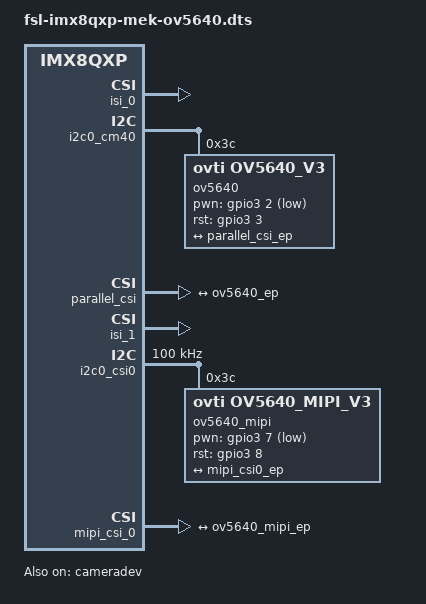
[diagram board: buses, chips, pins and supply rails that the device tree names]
#include "fsl-imx8qxp-mek.dts"
#include "fsl-imx8qxp-mek-lvds0-it6263.dtsi"

&iomuxc {
	imx8qxp-mek {
		pinctrl_mipi_csi0: mipicsi0grp{
			fsl,pins = <
				SC_P_MIPI_CSI0_MCLK_OUT_MIPI_CSI0_ACM_MCLK_OUT	0xC0000041
				SC_P_MIPI_CSI0_GPIO0_01_LSIO_GPIO3_IO07		0xC0000041
				SC_P_MIPI_CSI0_GPIO0_00_LSIO_GPIO3_IO08		0xC0000041
			>;
		};

		pinctrl_parallel_csi: parallelcsigrp {
			fsl,pins = <
				SC_P_CSI_D00_CI_PI_D02		0xC0000041
				SC_P_CSI_D01_CI_PI_D03		0xC0000041
				SC_P_CSI_D02_CI_PI_D04		0xC0000041
				SC_P_CSI_D03_CI_PI_D05		0xC0000041
				SC_P_CSI_D04_CI_PI_D06		0xC0000041
				SC_P_CSI_D05_CI_PI_D07		0xC0000041
				SC_P_CSI_D06_CI_PI_D08		0xC0000041
				SC_P_CSI_D07_CI_PI_D09		0xC0000041

				SC_P_CSI_MCLK_CI_PI_MCLK		0xC0000041
				SC_P_CSI_PCLK_CI_PI_PCLK		0xC0000041
				SC_P_CSI_HSYNC_CI_PI_HSYNC		0xC0000041
				SC_P_CSI_VSYNC_CI_PI_VSYNC		0xC0000041
				SC_P_CSI_EN_LSIO_GPIO3_IO02		0xC0000041
				SC_P_CSI_RESET_LSIO_GPIO3_IO03	0xC0000041
			>;
		};
	};
};

&isi_0 {
	interface = <6 0 2>;	/* INPUT: 6-PARALLEL CSI */
	parallel_csi;
	status = "okay";
};

&i2c0_cm40 {
	ov5640: ov5640@3c {
		compatible = "ovti,ov5640_v3";
		reg = <0x3c>;
		pinctrl-names = "default";
		pinctrl-0 = <&pinctrl_parallel_csi>;
		clocks = <&clk IMX8QXP_PARALLEL_CSI_MISC0_CLK>;
		clock-names = "csi_mclk";
		pwn-gpios = <&gpio3 2 GPIO_ACTIVE_LOW>;
		rst-gpios = <&gpio3 3 GPIO_ACTIVE_HIGH>;
		csi_id = <0>;
		mclk = <24000000>;
		mclk_source = <0>;
		status = "okay";
		port {
			ov5640_ep: endpoint {
				remote-endpoint = <&parallel_csi_ep>;
			};
		};
	};
};

&cameradev {
	parallel_csi;
	status = "okay";
};

&parallel_csi {
	#address-cells = <1>;
	#size-cells = <0>;
	status = "okay";
	port@0 {
		reg = <0>;
		parallel_csi_ep: endpoint {
			remote-endpoint = <&ov5640_ep>;
		};
	};
};

&isi_1 {
	interface = <2 0 2>;
	status = "okay";
};

&isi_2 {
	status = "disabled";
};

&isi_3 {
	status = "disabled";
};

&isi_4 {
	status = "disabled";
};

&isi_5 {
	status = "disabled";
};

&isi_6 {
	status = "disabled";
};

&isi_7 {
	status = "disabled";
};

&i2c0_csi0 {
	clock-frequency = <100000>;
	status = "okay";

	ov5640_mipi: ov5640_mipi@3c {
		compatible = "ovti,ov5640_mipi_v3";
		reg = <0x3c>;
		pinctrl-names = "default";
		pinctrl-0 = <&pinctrl_mipi_csi0>;
		clocks = <&clk IMX8QXP_CLK_DUMMY>;
		clock-names = "csi_mclk";
		csi_id = <0>;
		pwn-gpios = <&gpio3 7 GPIO_ACTIVE_LOW>;
		rst-gpios = <&gpio3 8 GPIO_ACTIVE_HIGH>;
		mclk = <24000000>;
		mclk_source = <0>;
		mipi_csi;
		status = "okay";
		port {
			ov5640_mipi_ep: endpoint {
				remote-endpoint = <&mipi_csi0_ep>;
			};
		};
	};

	max9286_mipi@6A {
		status = "disabled";
	};
};

&mipi_csi_0 {
	/delete-property/virtual-channel;
	status = "okay";

	port@0 {
		reg = <0>;
		mipi_csi0_ep: endpoint {
			remote-endpoint = <&ov5640_mipi_ep>;
			data-lanes = <1 2>;
		};
	};
};

&jpegdec {
	status = "disabled";
};

&jpegenc {
	status = "disabled";
};

